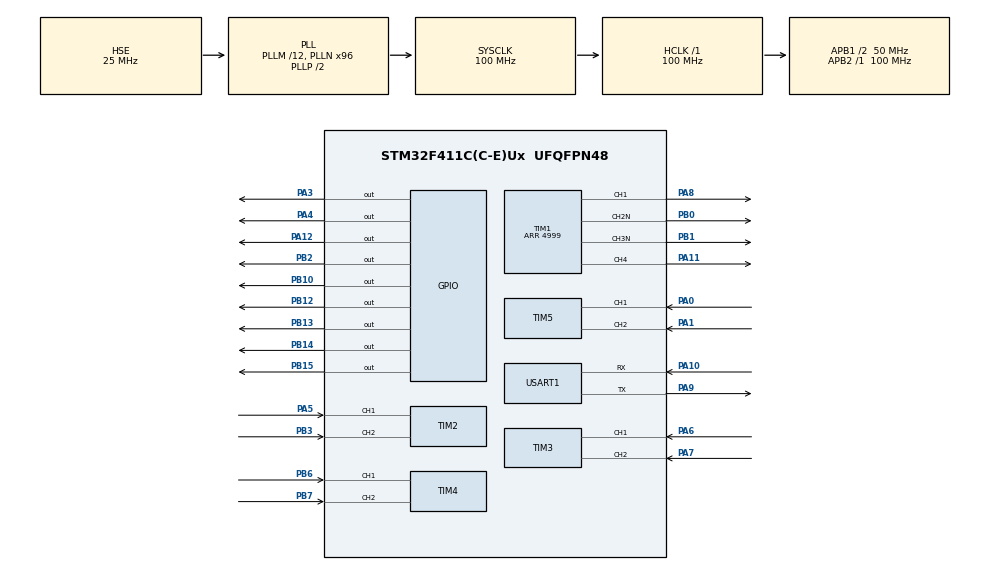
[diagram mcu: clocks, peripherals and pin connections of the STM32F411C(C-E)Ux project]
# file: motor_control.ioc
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Dma.Request0=USART1_RX
Dma.Request1=USART1_TX
Dma.USART1_RX.0.Direction=DMA_PERIPH_TO_MEMORY
Dma.USART1_RX.0.FIFOMode=DMA_FIFOMODE_DISABLE
Dma.USART1_RX.0.Instance=DMA2_Stream2
Dma.USART1_RX.0.MemDataAlignment=DMA_MDATAALIGN_BYTE
Dma.USART1_RX.0.MemInc=DMA_MINC_ENABLE
Dma.USART1_RX.0.Mode=DMA_NORMAL
Dma.USART1_RX.0.PeriphDataAlignment=DMA_PDATAALIGN_BYTE
Dma.USART1_RX.0.PeriphInc=DMA_PINC_DISABLE
Dma.USART1_RX.0.Priority=DMA_PRIORITY_LOW
Dma.USART1_TX.1.Direction=DMA_MEMORY_TO_PERIPH
Dma.USART1_TX.1.FIFOMode=DMA_FIFOMODE_DISABLE
Dma.USART1_TX.1.Instance=DMA2_Stream7
Dma.USART1_TX.1.MemDataAlignment=DMA_MDATAALIGN_BYTE
Dma.USART1_TX.1.MemInc=DMA_MINC_ENABLE
Dma.USART1_TX.1.Mode=DMA_NORMAL
Dma.USART1_TX.1.PeriphDataAlignment=DMA_PDATAALIGN_BYTE
Dma.USART1_TX.1.PeriphInc=DMA_PINC_DISABLE
Dma.USART1_TX.1.Priority=DMA_PRIORITY_LOW
FREERTOS.Tasks01=ControlTask,2,256,StartControlTask,Default,NULL,Dynamic,NULL,NULL;SafetyTask,1,128,StartSafetyTask,Default,NULL,Dynamic,NULL,NULL;CommTask,0,256,StartCommTask,Default,NULL,Dynamic,NULL,NULL
FREERTOS.configUSE_NEWLIB_REENTRANT=1
Mcu.Family=STM32F4
Mcu.Name=STM32F411C(C-E)Ux
Mcu.Package=UFQFPN48
NVIC.DMA2_Stream2_IRQn=true\:5\:0\:false\:false\:true\:true\:false\:true\:true
NVIC.DMA2_Stream7_IRQn=true\:5\:0\:false\:false\:true\:true\:false\:true\:true
NVIC.PriorityGroup=NVIC_PRIORITYGROUP_4
NVIC.TIM1_BRK_TIM9_IRQn=true\:15\:0\:false\:false\:true\:false\:false\:true\:true
NVIC.TimeBase=TIM1_BRK_TIM9_IRQn
NVIC.TimeBaseIP=TIM9
NVIC.USART1_IRQn=true\:5\:0\:false\:false\:true\:true\:true\:true\:true
PA0-WKUP.Signal=S_TIM5_CH1
PA1.Signal=S_TIM5_CH2
PA10.Mode=Asynchronous
PA10.Signal=USART1_RX
PA11.Signal=S_TIM1_CH4
PA12.Signal=GPIO_Output
PA13.Mode=Serial_Wire
PA13.Signal=SYS_JTMS-SWDIO
PA14.Mode=Serial_Wire
PA14.Signal=SYS_JTCK-SWCLK
PA3.Signal=GPIO_Output
PA4.Signal=GPIO_Output
PA5.Signal=S_TIM2_CH1_ETR
PA6.Signal=S_TIM3_CH1
PA7.Signal=S_TIM3_CH2
PA8.Signal=S_TIM1_CH1
PA9.Mode=Asynchronous
PA9.Signal=USART1_TX
PB0.Mode=PWM Generation2 CH2N
PB0.Signal=TIM1_CH2N
PB1.Mode=PWM Generation3 CH3N
PB1.Signal=TIM1_CH3N
PB10.Signal=GPIO_Output
PB12.Signal=GPIO_Output
PB13.Signal=GPIO_Output
PB14.Signal=GPIO_Output
PB15.Signal=GPIO_Output
PB2.Signal=GPIO_Output
PB3.Signal=S_TIM2_CH2
PB6.Signal=S_TIM4_CH1
PB7.Signal=S_TIM4_CH2
PH0\ -\ OSC_IN.Mode=HSE-External-Oscillator
PH0\ -\ OSC_IN.Signal=RCC_OSC_IN
PH1\ -\ OSC_OUT.Mode=HSE-External-Oscillator
PH1\ -\ OSC_OUT.Signal=RCC_OSC_OUT
ProjectManager.HeapSize=0x200
ProjectManager.StackSize=0x400
ProjectManager.TargetToolchain=STM32CubeIDE
RCC.48MHZClocksFreq_Value=50000000
RCC.AHBFreq_Value=100000000
RCC.APB1CLKDivider=RCC_HCLK_DIV2
RCC.APB1Freq_Value=50000000
RCC.APB1TimFreq_Value=100000000
RCC.APB2Freq_Value=100000000
RCC.APB2TimFreq_Value=100000000
RCC.CortexFreq_Value=100000000
RCC.HCLKFreq_Value=100000000
RCC.HSE_VALUE=25000000
RCC.HSI_VALUE=16000000
RCC.LSE_VALUE=32768
RCC.PLLM=12
RCC.PLLN=96
RCC.PLLSourceVirtual=RCC_PLLSOURCE_HSE
RCC.SYSCLKFreq_VALUE=100000000
RCC.SYSCLKSource=RCC_SYSCLKSOURCE_PLLCLK
RCC.VCOOutputFreq_Value=200000000
SH.S_TIM1_CH1.0=TIM1_CH1,PWM Generation1 CH1
SH.S_TIM1_CH4.0=TIM1_CH4,PWM Generation4 CH4
SH.S_TIM2_CH1_ETR.0=TIM2_CH1,Encoder_Interface
SH.S_TIM2_CH2.0=TIM2_CH2,Encoder_Interface
SH.S_TIM3_CH1.0=TIM3_CH1,Encoder_Interface
SH.S_TIM3_CH2.0=TIM3_CH2,Encoder_Interface
SH.S_TIM4_CH1.0=TIM4_CH1,Encoder_Interface
SH.S_TIM4_CH2.0=TIM4_CH2,Encoder_Interface
SH.S_TIM5_CH1.0=TIM5_CH1,Encoder_Interface
SH.S_TIM5_CH2.0=TIM5_CH2,Encoder_Interface
TIM1.Channel-PWM\ Generation1\ CH1=TIM_CHANNEL_1
TIM1.Channel-PWM\ Generation2\ CH2N=TIM_CHANNEL_2
TIM1.Channel-PWM\ Generation3\ CH3N=TIM_CHANNEL_3
TIM1.Channel-PWM\ Generation4\ CH4=TIM_CHANNEL_4
TIM1.Period=4999
TIM2.EncoderMode=TIM_ENCODERMODE_TI12
TIM3.EncoderMode=TIM_ENCODERMODE_TI12
TIM4.EncoderMode=TIM_ENCODERMODE_TI12
TIM5.EncoderMode=TIM_ENCODERMODE_TI12
USART1.VirtualMode=VM_ASYNC
VP_FREERTOS_VS_CMSIS_V1.Mode=CMSIS_V1
VP_SYS_VS_tim9.Mode=TIM9
VP_TIM1_VS_ClockSourceINT.Mode=Internal
board=custom

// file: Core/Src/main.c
/* USER CODE BEGIN Header */
/**
  ******************************************************************************
  * @file           : main.c
  * @brief          : Main program body
  ******************************************************************************
  * @attention
  *
  * Copyright (c) 2026 STMicroelectronics.
  * All rights reserved.
  *
  * This software is licensed under terms that can be found in the LICENSE file
  * in the root directory of this software component.
  * If no LICENSE file comes with this software, it is provided AS-IS.
  *
  ******************************************************************************
  */
/* USER CODE END Header */
#include "main.h"
#include "cmsis_os.h"

/* USER CODE BEGIN Includes */
#include <math.h>
#include "kinematics_odometry.h"
#include "pid_controller.h"
#include "safety_fsm.h"
#include "uart_comm.h"
/* USER CODE END Includes */

/* USER CODE BEGIN PD */
/* Nhãn chân GPIO của cầu H (Bạn có thể đổi cổng/chân cho đúng mạch thực tế) */
#define IN1_FL_PORT GPIOA
#define IN1_FL_PIN  GPIO_PIN_3
#define IN2_FL_PORT GPIOA
#define IN2_FL_PIN  GPIO_PIN_4

#define IN1_FR_PORT GPIOA
#define IN1_FR_PIN  GPIO_PIN_12
#define IN2_FR_PORT GPIOB
#define IN2_FR_PIN  GPIO_PIN_2

#define IN1_RL_PORT GPIOB
#define IN1_RL_PIN  GPIO_PIN_10
#define IN2_RL_PORT GPIOB
#define IN2_RL_PIN  GPIO_PIN_12

#define IN1_RR_PORT GPIOB
#define IN1_RR_PIN  GPIO_PIN_13
#define IN2_RR_PORT GPIOB
#define IN2_RR_PIN  GPIO_PIN_14

#define STBY_PORT   GPIOB
#define STBY_PIN    GPIO_PIN_15
/* USER CODE END PD */

TIM_HandleTypeDef htim1;
TIM_HandleTypeDef htim2;
TIM_HandleTypeDef htim3;
TIM_HandleTypeDef htim4;
TIM_HandleTypeDef htim5;

UART_HandleTypeDef huart1;
DMA_HandleTypeDef hdma_usart1_rx;
DMA_HandleTypeDef hdma_usart1_tx;

osThreadId ControlTaskHandle;
osThreadId SafetyTaskHandle;
osThreadId CommTaskHandle;
/* USER CODE BEGIN PV */
Robot_Odometry_t robot_odom;
Safety_FSM_t robot_fsm;

PID_Controller_t pid_FL, pid_FR, pid_RL, pid_RR;

uint16_t last_cnt_FL = 0, last_cnt_FR = 0, last_cnt_RL = 0, last_cnt_RR = 0; // UNUSED: kept for compatibility
/* BUG FIX: Dùng uint32_t để hỗ trợ TIM2/TIM5 (32-bit) và TIM3/TIM4 (16-bit) không bị cắt ngắn */
uint32_t last_cnt32_FL = 0, last_cnt32_FR = 0, last_cnt32_RL = 0, last_cnt32_RR = 0;
int32_t total_enc_FL = 0, total_enc_FR = 0, total_enc_RL = 0, total_enc_RR = 0;

uint8_t rx_buffer[RX_PACKET_SIZE];
uint8_t tx_buffer[TX_PACKET_SIZE];
Master_Cmd_Packet_t master_cmd;
Robot_Feedback_Packet_t robot_fb;
/* USER CODE END PV */

void SystemClock_Config(void);
static void MX_GPIO_Init(void);
static void MX_DMA_Init(void);
static void MX_TIM1_Init(void);
static void MX_TIM2_Init(void);
static void MX_TIM3_Init(void);
static void MX_TIM4_Init(void);
static void MX_TIM5_Init(void);
static void MX_USART1_UART_Init(void);
void StartControlTask(void const * argument);
void StartSafetyTask(void const * argument);
void StartCommTask(void const * argument);

/* USER CODE BEGIN 0 */
void Motor_Set_PWM(float u_FL, float u_FR, float u_RL, float u_RR) {
    /* Đảm bảo STBY của TB6612FNG luôn bật */
    HAL_GPIO_WritePin(STBY_PORT, STBY_PIN, GPIO_PIN_SET);

    /* ----- 1. ĐIỀU KHIỂN CHIỀU QUAY (TB6612FNG IN1/IN2) ----- */
    if (u_FL >= 0) {
        HAL_GPIO_WritePin(IN1_FL_PORT, IN1_FL_PIN, GPIO_PIN_SET);
        HAL_GPIO_WritePin(IN2_FL_PORT, IN2_FL_PIN, GPIO_PIN_RESET);
    } else {
        HAL_GPIO_WritePin(IN1_FL_PORT, IN1_FL_PIN, GPIO_PIN_RESET);
        HAL_GPIO_WritePin(IN2_FL_PORT, IN2_FL_PIN, GPIO_PIN_SET);
    }

    if (u_FR >= 0) {
        HAL_GPIO_WritePin(IN1_FR_PORT, IN1_FR_PIN, GPIO_PIN_SET);
        HAL_GPIO_WritePin(IN2_FR_PORT, IN2_FR_PIN, GPIO_PIN_RESET);
    } else {
        HAL_GPIO_WritePin(IN1_FR_PORT, IN1_FR_PIN, GPIO_PIN_RESET);
        HAL_GPIO_WritePin(IN2_FR_PORT, IN2_FR_PIN, GPIO_PIN_SET);
    }

    if (u_RL >= 0) {
        HAL_GPIO_WritePin(IN1_RL_PORT, IN1_RL_PIN, GPIO_PIN_SET);
        HAL_GPIO_WritePin(IN2_RL_PORT, IN2_RL_PIN, GPIO_PIN_RESET);
    } else {
        HAL_GPIO_WritePin(IN1_RL_PORT, IN1_RL_PIN, GPIO_PIN_RESET);
        HAL_GPIO_WritePin(IN2_RL_PORT, IN2_RL_PIN, GPIO_PIN_SET);
    }

    if (u_RR >= 0) {
        HAL_GPIO_WritePin(IN1_RR_PORT, IN1_RR_PIN, GPIO_PIN_SET);
        HAL_GPIO_WritePin(IN2_RR_PORT, IN2_RR_PIN, GPIO_PIN_RESET);
    } else {
        HAL_GPIO_WritePin(IN1_RR_PORT, IN1_RR_PIN, GPIO_PIN_RESET);
        HAL_GPIO_WritePin(IN2_RR_PORT, IN2_RR_PIN, GPIO_PIN_SET);
    }

    /* ----- 2. ĐIỀU KHIỂN TỐC ĐỘ (PWM) ----- */
    __HAL_TIM_SET_COMPARE(&htim1, TIM_CHANNEL_1, (uint32_t)fabs(u_FL));
    __HAL_TIM_SET_COMPARE(&htim1, TIM_CHANNEL_2, (uint32_t)fabs(u_FR));
    __HAL_TIM_SET_COMPARE(&htim1, TIM_CHANNEL_3, (uint32_t)fabs(u_RL));
    __HAL_TIM_SET_COMPARE(&htim1, TIM_CHANNEL_4, (uint32_t)fabs(u_RR));
}
/* USER CODE END 0 */

int main(void)
{

  /* MCU Configuration--------------------------------------------------------*/

  /* Reset of all peripherals, Initializes the Flash interface and the Systick. */
  HAL_Init();

  /* Configure the system clock */
  SystemClock_Config();

  /* Initialize all configured peripherals */
  MX_GPIO_Init();
  MX_DMA_Init();
  MX_TIM1_Init();
  MX_TIM2_Init();
  MX_TIM3_Init();
  MX_TIM4_Init();
  MX_TIM5_Init();
  MX_USART1_UART_Init();
  /* USER CODE BEGIN 2 */
  Odometry_Init(&robot_odom);
  FSM_Init(&robot_fsm);

  /* BUG FIX: PID gains phù hợp với đầu vào m/s và đầu ra PWM ticks (0-4999)
   * v_max L-Type 520 @ 12V = (520/40)*2pi*0.0325 ≈ 2.64 m/s
   * Kp ≈ 1800 để sai lệch 2.64m/s → 4752 ticks (gần full range) */
  PID_Init(&pid_FL, 1800.0f, 200.0f, CONTROL_DT, 4999.0f, -4999.0f);
  PID_Init(&pid_FR, 1800.0f, 200.0f, CONTROL_DT, 4999.0f, -4999.0f);
  PID_Init(&pid_RL, 1800.0f, 200.0f, CONTROL_DT, 4999.0f, -4999.0f);
  PID_Init(&pid_RR, 1800.0f, 200.0f, CONTROL_DT, 4999.0f, -4999.0f);

  HAL_TIM_PWM_Start(&htim1, TIM_CHANNEL_1);       // PA8  → TIM1_CH1  → PWM motor FL
  /* .ioc: PB0=TIM1_CH2N, PB1=TIM1_CH3N → đây là kênh bù (complementary), dùng PWMN là ĐÚNG */
  HAL_TIMEx_PWMN_Start(&htim1, TIM_CHANNEL_2);   // PB0  → TIM1_CH2N → PWM motor FR
  HAL_TIMEx_PWMN_Start(&htim1, TIM_CHANNEL_3);   // PB1  → TIM1_CH3N → PWM motor RL
  HAL_TIM_PWM_Start(&htim1, TIM_CHANNEL_4);       // PA11 → TIM1_CH4  → PWM motor RR

  HAL_TIM_Encoder_Start(&htim2, TIM_CHANNEL_ALL);
  HAL_TIM_Encoder_Start(&htim3, TIM_CHANNEL_ALL);
  HAL_TIM_Encoder_Start(&htim4, TIM_CHANNEL_ALL);
  HAL_TIM_Encoder_Start(&htim5, TIM_CHANNEL_ALL);

  /* Bắt đầu nhận UART bằng DMA */
  HAL_UART_Receive_DMA(&huart1, rx_buffer, RX_PACKET_SIZE);
  /* USER CODE END 2 */

  /* Create the thread(s) */
  /* definition and creation of ControlTask */
  osThreadDef(ControlTask, StartControlTask, osPriorityHigh, 0, 256);
  ControlTaskHandle = osThreadCreate(osThread(ControlTask), NULL);

  /* definition and creation of SafetyTask */
  osThreadDef(SafetyTask, StartSafetyTask, osPriorityAboveNormal, 0, 128);
  SafetyTaskHandle = osThreadCreate(osThread(SafetyTask), NULL);

  /* definition and creation of CommTask */
  osThreadDef(CommTask, StartCommTask, osPriorityNormal, 0, 256);
  CommTaskHandle = osThreadCreate(osThread(CommTask), NULL);

  /* Start scheduler */
  osKernelStart();

  /* We should never get here as control is now taken by the scheduler */

  /* Infinite loop */
  while (1)
  {

  }
}

void SystemClock_Config(void)
{
  RCC_OscInitTypeDef RCC_OscInitStruct = {0};
  RCC_ClkInitTypeDef RCC_ClkInitStruct = {0};

  /** Configure the main internal regulator output voltage
  */
  __HAL_RCC_PWR_CLK_ENABLE();
  __HAL_PWR_VOLTAGESCALING_CONFIG(PWR_REGULATOR_VOLTAGE_SCALE1);

  /** Initializes the RCC Oscillators according to the specified parameters
  * in the RCC_OscInitTypeDef structure.
  */
  RCC_OscInitStruct.OscillatorType = RCC_OSCILLATORTYPE_HSE;
  RCC_OscInitStruct.HSEState = RCC_HSE_ON;
  RCC_OscInitStruct.PLL.PLLState = RCC_PLL_ON;
  RCC_OscInitStruct.PLL.PLLSource = RCC_PLLSOURCE_HSE;
  RCC_OscInitStruct.PLL.PLLM = 12;
  RCC_OscInitStruct.PLL.PLLN = 96;
  RCC_OscInitStruct.PLL.PLLP = RCC_PLLP_DIV2;
  RCC_OscInitStruct.PLL.PLLQ = 4;
  if (HAL_RCC_OscConfig(&RCC_OscInitStruct) != HAL_OK)
  {
    Error_Handler();
  }

  /** Initializes the CPU, AHB and APB buses clocks
  */
  RCC_ClkInitStruct.ClockType = RCC_CLOCKTYPE_HCLK|RCC_CLOCKTYPE_SYSCLK
                              |RCC_CLOCKTYPE_PCLK1|RCC_CLOCKTYPE_PCLK2;
  RCC_ClkInitStruct.SYSCLKSource = RCC_SYSCLKSOURCE_PLLCLK;
  RCC_ClkInitStruct.AHBCLKDivider = RCC_SYSCLK_DIV1;
  RCC_ClkInitStruct.APB1CLKDivider = RCC_HCLK_DIV2;
  RCC_ClkInitStruct.APB2CLKDivider = RCC_HCLK_DIV1;

  if (HAL_RCC_ClockConfig(&RCC_ClkInitStruct, FLASH_LATENCY_3) != HAL_OK)
  {
    Error_Handler();
  }
}

static void MX_TIM1_Init(void)
{

  TIM_ClockConfigTypeDef sClockSourceConfig = {0};
  TIM_MasterConfigTypeDef sMasterConfig = {0};
  TIM_OC_InitTypeDef sConfigOC = {0};
  TIM_BreakDeadTimeConfigTypeDef sBreakDeadTimeConfig = {0};

  htim1.Instance = TIM1;
  htim1.Init.Prescaler = 0;
  htim1.Init.CounterMode = TIM_COUNTERMODE_UP;
  htim1.Init.Period = 4999;
  htim1.Init.ClockDivision = TIM_CLOCKDIVISION_DIV1;
  htim1.Init.RepetitionCounter = 0;
  htim1.Init.AutoReloadPreload = TIM_AUTORELOAD_PRELOAD_DISABLE;
  if (HAL_TIM_Base_Init(&htim1) != HAL_OK)
  {
    Error_Handler();
  }
  sClockSourceConfig.ClockSource = TIM_CLOCKSOURCE_INTERNAL;
  if (HAL_TIM_ConfigClockSource(&htim1, &sClockSourceConfig) != HAL_OK)
  {
    Error_Handler();
  }
  if (HAL_TIM_PWM_Init(&htim1) != HAL_OK)
  {
    Error_Handler();
  }
  sMasterConfig.MasterOutputTrigger = TIM_TRGO_RESET;
  sMasterConfig.MasterSlaveMode = TIM_MASTERSLAVEMODE_DISABLE;
  if (HAL_TIMEx_MasterConfigSynchronization(&htim1, &sMasterConfig) != HAL_OK)
  {
    Error_Handler();
  }
  sConfigOC.OCMode = TIM_OCMODE_PWM1;
  sConfigOC.Pulse = 0;
  sConfigOC.OCPolarity = TIM_OCPOLARITY_HIGH;
  sConfigOC.OCNPolarity = TIM_OCNPOLARITY_HIGH;
  sConfigOC.OCFastMode = TIM_OCFAST_DISABLE;
  sConfigOC.OCIdleState = TIM_OCIDLESTATE_RESET;
  sConfigOC.OCNIdleState = TIM_OCNIDLESTATE_RESET;
  if (HAL_TIM_PWM_ConfigChannel(&htim1, &sConfigOC, TIM_CHANNEL_1) != HAL_OK)
  {
    Error_Handler();
  }
  if (HAL_TIM_PWM_ConfigChannel(&htim1, &sConfigOC, TIM_CHANNEL_2) != HAL_OK)
  {
    Error_Handler();
  }
  if (HAL_TIM_PWM_ConfigChannel(&htim1, &sConfigOC, TIM_CHANNEL_3) != HAL_OK)
  {
    Error_Handler();
  }
  if (HAL_TIM_PWM_ConfigChannel(&htim1, &sConfigOC, TIM_CHANNEL_4) != HAL_OK)
  {
    Error_Handler();
  }
  sBreakDeadTimeConfig.OffStateRunMode = TIM_OSSR_DISABLE;
  sBreakDeadTimeConfig.OffStateIDLEMode = TIM_OSSI_DISABLE;
  sBreakDeadTimeConfig.LockLevel = TIM_LOCKLEVEL_OFF;
  sBreakDeadTimeConfig.DeadTime = 0;
  sBreakDeadTimeConfig.BreakState = TIM_BREAK_DISABLE;
  sBreakDeadTimeConfig.BreakPolarity = TIM_BREAKPOLARITY_HIGH;
  sBreakDeadTimeConfig.AutomaticOutput = TIM_AUTOMATICOUTPUT_DISABLE;
  if (HAL_TIMEx_ConfigBreakDeadTime(&htim1, &sBreakDeadTimeConfig) != HAL_OK)
  {
    Error_Handler();
  }
  HAL_TIM_MspPostInit(&htim1);

}

static void MX_TIM2_Init(void)
{

  TIM_Encoder_InitTypeDef sConfig = {0};
  TIM_MasterConfigTypeDef sMasterConfig = {0};

  htim2.Instance = TIM2;
  htim2.Init.Prescaler = 0;
  htim2.Init.CounterMode = TIM_COUNTERMODE_UP;
  htim2.Init.Period = 4294967295;
  htim2.Init.ClockDivision = TIM_CLOCKDIVISION_DIV1;
  htim2.Init.AutoReloadPreload = TIM_AUTORELOAD_PRELOAD_DISABLE;
  sConfig.EncoderMode = TIM_ENCODERMODE_TI12;
  sConfig.IC1Polarity = TIM_ICPOLARITY_RISING;
  sConfig.IC1Selection = TIM_ICSELECTION_DIRECTTI;
  sConfig.IC1Prescaler = TIM_ICPSC_DIV1;
  sConfig.IC1Filter = 0;
  sConfig.IC2Polarity = TIM_ICPOLARITY_RISING;
  sConfig.IC2Selection = TIM_ICSELECTION_DIRECTTI;
  sConfig.IC2Prescaler = TIM_ICPSC_DIV1;
  sConfig.IC2Filter = 0;
  if (HAL_TIM_Encoder_Init(&htim2, &sConfig) != HAL_OK)
  {
    Error_Handler();
  }
  sMasterConfig.MasterOutputTrigger = TIM_TRGO_RESET;
  sMasterConfig.MasterSlaveMode = TIM_MASTERSLAVEMODE_DISABLE;
  if (HAL_TIMEx_MasterConfigSynchronization(&htim2, &sMasterConfig) != HAL_OK)
  {
    Error_Handler();
  }

}

static void MX_TIM3_Init(void)
{

  TIM_Encoder_InitTypeDef sConfig = {0};
  TIM_MasterConfigTypeDef sMasterConfig = {0};

  htim3.Instance = TIM3;
  htim3.Init.Prescaler = 0;
  htim3.Init.CounterMode = TIM_COUNTERMODE_UP;
  htim3.Init.Period = 65535;
  htim3.Init.ClockDivision = TIM_CLOCKDIVISION_DIV1;
  htim3.Init.AutoReloadPreload = TIM_AUTORELOAD_PRELOAD_DISABLE;
  sConfig.EncoderMode = TIM_ENCODERMODE_TI12;
  sConfig.IC1Polarity = TIM_ICPOLARITY_RISING;
  sConfig.IC1Selection = TIM_ICSELECTION_DIRECTTI;
  sConfig.IC1Prescaler = TIM_ICPSC_DIV1;
  sConfig.IC1Filter = 0;
  sConfig.IC2Polarity = TIM_ICPOLARITY_RISING;
  sConfig.IC2Selection = TIM_ICSELECTION_DIRECTTI;
  sConfig.IC2Prescaler = TIM_ICPSC_DIV1;
  sConfig.IC2Filter = 0;
  if (HAL_TIM_Encoder_Init(&htim3, &sConfig) != HAL_OK)
  {
    Error_Handler();
  }
  sMasterConfig.MasterOutputTrigger = TIM_TRGO_RESET;
  sMasterConfig.MasterSlaveMode = TIM_MASTERSLAVEMODE_DISABLE;
  if (HAL_TIMEx_MasterConfigSynchronization(&htim3, &sMasterConfig) != HAL_OK)
  {
    Error_Handler();
  }

}

static void MX_TIM4_Init(void)
{

  TIM_Encoder_InitTypeDef sConfig = {0};
  TIM_MasterConfigTypeDef sMasterConfig = {0};

  htim4.Instance = TIM4;
  htim4.Init.Prescaler = 0;
  htim4.Init.CounterMode = TIM_COUNTERMODE_UP;
  htim4.Init.Period = 65535;
  htim4.Init.ClockDivision = TIM_CLOCKDIVISION_DIV1;
  htim4.Init.AutoReloadPreload = TIM_AUTORELOAD_PRELOAD_DISABLE;
  sConfig.EncoderMode = TIM_ENCODERMODE_TI12;
  sConfig.IC1Polarity = TIM_ICPOLARITY_RISING;
  sConfig.IC1Selection = TIM_ICSELECTION_DIRECTTI;
  sConfig.IC1Prescaler = TIM_ICPSC_DIV1;
  sConfig.IC1Filter = 0;
  sConfig.IC2Polarity = TIM_ICPOLARITY_RISING;
  sConfig.IC2Selection = TIM_ICSELECTION_DIRECTTI;
  sConfig.IC2Prescaler = TIM_ICPSC_DIV1;
  sConfig.IC2Filter = 0;
  if (HAL_TIM_Encoder_Init(&htim4, &sConfig) != HAL_OK)
  {
    Error_Handler();
  }
  sMasterConfig.MasterOutputTrigger = TIM_TRGO_RESET;
  sMasterConfig.MasterSlaveMode = TIM_MASTERSLAVEMODE_DISABLE;
  if (HAL_TIMEx_MasterConfigSynchronization(&htim4, &sMasterConfig) != HAL_OK)
  {
    Error_Handler();
  }

}

static void MX_TIM5_Init(void)
{

  TIM_Encoder_InitTypeDef sConfig = {0};
  TIM_MasterConfigTypeDef sMasterConfig = {0};

  htim5.Instance = TIM5;
  htim5.Init.Prescaler = 0;
  htim5.Init.CounterMode = TIM_COUNTERMODE_UP;
  htim5.Init.Period = 4294967295;
  htim5.Init.ClockDivision = TIM_CLOCKDIVISION_DIV1;
  htim5.Init.AutoReloadPreload = TIM_AUTORELOAD_PRELOAD_DISABLE;
  sConfig.EncoderMode = TIM_ENCODERMODE_TI12;
  sConfig.IC1Polarity = TIM_ICPOLARITY_RISING;
  sConfig.IC1Selection = TIM_ICSELECTION_DIRECTTI;
  sConfig.IC1Prescaler = TIM_ICPSC_DIV1;
  sConfig.IC1Filter = 0;
  sConfig.IC2Polarity = TIM_ICPOLARITY_RISING;
  sConfig.IC2Selection = TIM_ICSELECTION_DIRECTTI;
  sConfig.IC2Prescaler = TIM_ICPSC_DIV1;
  sConfig.IC2Filter = 0;
  if (HAL_TIM_Encoder_Init(&htim5, &sConfig) != HAL_OK)
  {
    Error_Handler();
  }
  sMasterConfig.MasterOutputTrigger = TIM_TRGO_RESET;
  sMasterConfig.MasterSlaveMode = TIM_MASTERSLAVEMODE_DISABLE;
  if (HAL_TIMEx_MasterConfigSynchronization(&htim5, &sMasterConfig) != HAL_OK)
  {
    Error_Handler();
  }

}

static void MX_USART1_UART_Init(void)
{

  huart1.Instance = USART1;
  huart1.Init.BaudRate = 115200;
  huart1.Init.WordLength = UART_WORDLENGTH_8B;
  huart1.Init.StopBits = UART_STOPBITS_1;
  huart1.Init.Parity = UART_PARITY_NONE;
  huart1.Init.Mode = UART_MODE_TX_RX;
  huart1.Init.HwFlowCtl = UART_HWCONTROL_NONE;
  huart1.Init.OverSampling = UART_OVERSAMPLING_16;
  if (HAL_UART_Init(&huart1) != HAL_OK)
  {
    Error_Handler();
  }

}

static void MX_DMA_Init(void)
{

  /* DMA controller clock enable */
  __HAL_RCC_DMA2_CLK_ENABLE();

  /* DMA interrupt init */
  /* DMA2_Stream2_IRQn interrupt configuration */
  HAL_NVIC_SetPriority(DMA2_Stream2_IRQn, 5, 0);
  HAL_NVIC_EnableIRQ(DMA2_Stream2_IRQn);
  /* DMA2_Stream7_IRQn interrupt configuration */
  HAL_NVIC_SetPriority(DMA2_Stream7_IRQn, 5, 0);
  HAL_NVIC_EnableIRQ(DMA2_Stream7_IRQn);

}

static void MX_GPIO_Init(void)
{
  GPIO_InitTypeDef GPIO_InitStruct = {0};

  /* GPIO Ports Clock Enable */
  __HAL_RCC_GPIOH_CLK_ENABLE();
  __HAL_RCC_GPIOA_CLK_ENABLE();
  __HAL_RCC_GPIOB_CLK_ENABLE();

  /*Configure GPIO pin Output Level */
  HAL_GPIO_WritePin(GPIOA, GPIO_PIN_3|GPIO_PIN_4|GPIO_PIN_12, GPIO_PIN_RESET);

  /*Configure GPIO pin Output Level */
  HAL_GPIO_WritePin(GPIOB, GPIO_PIN_2|GPIO_PIN_10|GPIO_PIN_12|GPIO_PIN_13
                          |GPIO_PIN_14|GPIO_PIN_15, GPIO_PIN_RESET);

  /*Configure GPIO pins : PA3 PA4 PA12 */
  GPIO_InitStruct.Pin = GPIO_PIN_3|GPIO_PIN_4|GPIO_PIN_12;
  GPIO_InitStruct.Mode = GPIO_MODE_OUTPUT_PP;
  GPIO_InitStruct.Pull = GPIO_NOPULL;
  GPIO_InitStruct.Speed = GPIO_SPEED_FREQ_LOW;
  HAL_GPIO_Init(GPIOA, &GPIO_InitStruct);

  /*Configure GPIO pins : PB2 PB10 PB12 PB13
                           PB14 PB15 */
  GPIO_InitStruct.Pin = GPIO_PIN_2|GPIO_PIN_10|GPIO_PIN_12|GPIO_PIN_13
                          |GPIO_PIN_14|GPIO_PIN_15;
  GPIO_InitStruct.Mode = GPIO_MODE_OUTPUT_PP;
  GPIO_InitStruct.Pull = GPIO_NOPULL;
  GPIO_InitStruct.Speed = GPIO_SPEED_FREQ_LOW;
  HAL_GPIO_Init(GPIOB, &GPIO_InitStruct);

}

/* USER CODE BEGIN 4 */
/* Ngắt gọi khi DMA nhận xong 14 bytes */
void HAL_UART_RxCpltCallback(UART_HandleTypeDef *huart) {
    if (huart->Instance == USART1) {
        /* Báo hiệu (Signal) cho CommTask dậy xử lý (dùng CMSIS_v1 API) */
        osSignalSet(CommTaskHandle, 0x01);

        /* Bật lại DMA nhận luồng tiếp theo */
        HAL_UART_Receive_DMA(&huart1, rx_buffer, RX_PACKET_SIZE);
    }
}
/* USER CODE END 4 */

void StartControlTask(void const * argument)
{
  /* USER CODE BEGIN 5 */
  /* Infinite loop */
  for(;;)
  {
    /* Đọc Encoder - BUG FIX: dùng last_cnt32_* (uint32_t) để không bị cắt ngắn 16-bit cao */
    int32_t delta_FL, delta_FR, delta_RL, delta_RR;
    Encoder_Update(&total_enc_FL, &delta_FL, __HAL_TIM_GET_COUNTER(&htim2), &last_cnt32_FL);
    Encoder_Update(&total_enc_FR, &delta_FR, __HAL_TIM_GET_COUNTER(&htim3), &last_cnt32_FR);
    Encoder_Update(&total_enc_RL, &delta_RL, __HAL_TIM_GET_COUNTER(&htim4), &last_cnt32_RL);
    Encoder_Update(&total_enc_RR, &delta_RR, __HAL_TIM_GET_COUNTER(&htim5), &last_cnt32_RR);

    /* Cập nhật Odometry */
    Odometry_Update(&robot_odom, delta_FL, delta_FR, delta_RL, delta_RR);

    /* Tính vận tốc thực tế từng bánh (m/s) */
    float actual_v_FL = (delta_FL * 2.0f * MATH_PI * ROBOT_WHEEL_RADIUS) / (ENCODER_RESOLUTION * CONTROL_DT);
    float actual_v_FR = (delta_FR * 2.0f * MATH_PI * ROBOT_WHEEL_RADIUS) / (ENCODER_RESOLUTION * CONTROL_DT);
    float actual_v_RL = (delta_RL * 2.0f * MATH_PI * ROBOT_WHEEL_RADIUS) / (ENCODER_RESOLUTION * CONTROL_DT);
    float actual_v_RR = (delta_RR * 2.0f * MATH_PI * ROBOT_WHEEL_RADIUS) / (ENCODER_RESOLUTION * CONTROL_DT);

    /* Tính toán PID nếu đang hoạt động */
    if (FSM_Is_Running(&robot_fsm)) {
        float ref_FL, ref_FR, ref_RL, ref_RR;
        Kinematics_Inverse(master_cmd.v_ref, master_cmd.w_ref, &ref_FL, &ref_FR, &ref_RL, &ref_RR);

        float u_FL = PID_Compute(&pid_FL, ref_FL, actual_v_FL);
        float u_FR = PID_Compute(&pid_FR, ref_FR, actual_v_FR);
        float u_RL = PID_Compute(&pid_RL, ref_RL, actual_v_RL);
        float u_RR = PID_Compute(&pid_RR, ref_RR, actual_v_RR);

        Motor_Set_PWM(u_FL, u_FR, u_RL, u_RR);
    } else {
        Motor_Set_PWM(0, 0, 0, 0);
        PID_Reset(&pid_FL); PID_Reset(&pid_FR); PID_Reset(&pid_RL); PID_Reset(&pid_RR);
    }

    osDelay(10); /* Chu kỳ 10ms (100Hz) */
  }
  /* USER CODE END 5 */
}

void StartSafetyTask(void const * argument)
{
  /* USER CODE BEGIN StartSafetyTask */
  /* Infinite loop */
  for(;;)
  {
    /* Kiểm tra Timeout Watchdog 300ms */
    FSM_Update(&robot_fsm, HAL_GetTick());

    osDelay(10); /* Kiểm tra mỗi 10ms */
  }
  /* USER CODE END StartSafetyTask */
}

void StartCommTask(void const * argument)
{
  /* USER CODE BEGIN StartCommTask */
  /* Infinite loop */
  for(;;)
  {
      /* Chờ cờ Signal 0x01 từ hàm ngắt UART báo hiệu đã nhận xong gói tin */
      osEvent event = osSignalWait(0x01, osWaitForever);

      if (event.status == osEventSignal) {
          Unpack_Master_Command(rx_buffer, &master_cmd);

          if (master_cmd.is_valid) {
              /* Nhận đúng -> Báo Watchdog */
              FSM_Feed_Watchdog(&robot_fsm, HAL_GetTick());

              /* BUG FIX: Xử lý đầy đủ các cờ CONTROL_FLAG */
              if (master_cmd.control_flag & 0x02) { // Bit 1: E-STOP khẩn cấp
                  FSM_Trigger_Fault(&robot_fsm);
              } else if (master_cmd.control_flag & 0x01) { // Bit 0: Reset lỗi
                  FSM_Reset_Fault(&robot_fsm);
              }
              if (master_cmd.control_flag & 0x04) { // Bit 2: Reset Odometry
                  Odometry_Init(&robot_odom);
              }

              /* Đóng gói và gửi phản hồi */
              robot_fb.seq_id = master_cmd.seq_id;
              robot_fb.timestamp_ms = HAL_GetTick();
              robot_fb.x = robot_odom.x;
              robot_fb.y = robot_odom.y;
              robot_fb.theta = robot_odom.theta;
              robot_fb.linear_v = robot_odom.linear_v;
              robot_fb.angular_w = robot_odom.angular_w;
              robot_fb.enc_FL = total_enc_FL;
              robot_fb.enc_FR = total_enc_FR;
              robot_fb.enc_RL = total_enc_RL;
              robot_fb.enc_RR = total_enc_RR;
              robot_fb.state = (uint8_t)robot_fsm.state;

              Pack_Robot_Feedback(&robot_fb, tx_buffer);

              /* Gửi phản hồi qua DMA TX */
              HAL_UART_Transmit_DMA(&huart1, tx_buffer, TX_PACKET_SIZE);
          }
      }
  }
  /* USER CODE END StartCommTask */
}

void HAL_TIM_PeriodElapsedCallback(TIM_HandleTypeDef *htim)
{
  if (htim->Instance == TIM9)
  {
    HAL_IncTick();
  }
}

void Error_Handler(void)
{
  __disable_irq();
  while (1)
  {
  }
}
